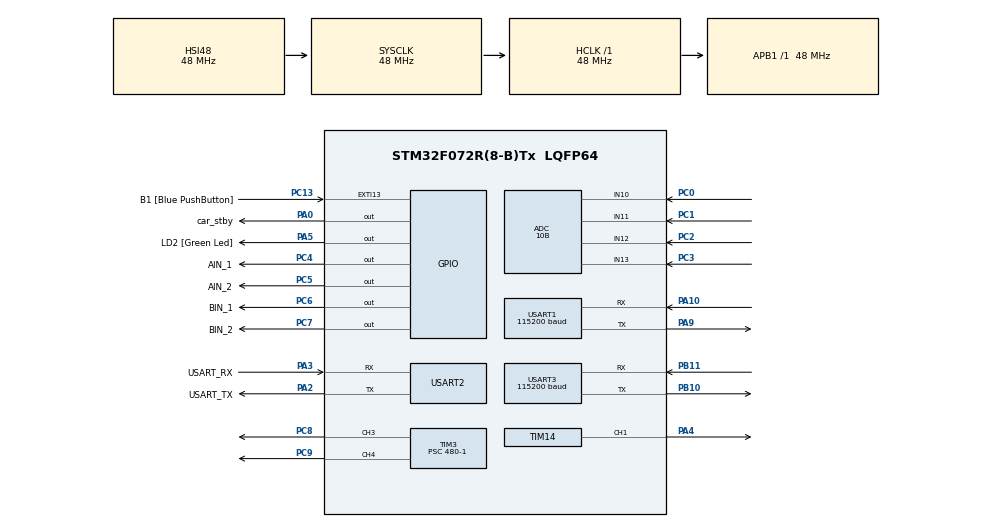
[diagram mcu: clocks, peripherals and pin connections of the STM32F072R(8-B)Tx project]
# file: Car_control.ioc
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ADC.Resolution=ADC_RESOLUTION_10B
ADC.SamplingTime=ADC_SAMPLETIME_28CYCLES_5
Mcu.Family=STM32F0
Mcu.Name=STM32F072R(8-B)Tx
Mcu.Package=LQFP64
NVIC.TIM6_DAC_IRQn=true\:1\:0\:true\:false\:true\:true\:false\:true
NVIC.TIM7_IRQn=true\:2\:0\:true\:false\:true\:true\:false\:true
NVIC.USART1_IRQn=true\:3\:0\:true\:false\:true\:true\:false\:true
NVIC.USART3_4_IRQn=true\:3\:0\:true\:false\:true\:true\:false\:true
PA0.GPIO_Label=car_stby
PA0.PinState=GPIO_PIN_SET
PA0.Signal=GPIO_Output
PA10.Mode=Asynchronous
PA10.Signal=USART1_RX
PA13.GPIO_Label=TMS
PA13.Mode=Serial_Wire
PA13.Signal=SYS_SWDIO
PA14.GPIO_Label=TCK
PA14.Mode=Serial_Wire
PA14.Signal=SYS_SWCLK
PA2.GPIO_Label=USART_TX
PA2.GPIO_Mode=GPIO_MODE_AF_PP
PA2.GPIO_PuPd=GPIO_NOPULL
PA2.GPIO_Speed=GPIO_SPEED_FREQ_LOW
PA2.Mode=Asynchronous
PA2.Signal=USART2_TX
PA3.GPIO_Label=USART_RX
PA3.GPIO_Mode=GPIO_MODE_AF_PP
PA3.GPIO_PuPd=GPIO_NOPULL
PA3.GPIO_Speed=GPIO_SPEED_FREQ_LOW
PA3.Mode=Asynchronous
PA3.Signal=USART2_RX
PA4.Signal=S_TIM14_CH1
PA5.GPIO_Label=LD2 [Green Led]
PA5.GPIO_Mode=GPIO_MODE_OUTPUT_PP
PA5.GPIO_PuPd=GPIO_NOPULL
PA5.GPIO_Speed=GPIO_SPEED_FREQ_LOW
PA5.Signal=GPIO_Output
PA9.Mode=Asynchronous
PA9.Signal=USART1_TX
PB10.Mode=Asynchronous
PB10.Signal=USART3_TX
PB11.Mode=Asynchronous
PB11.Signal=USART3_RX
PC0.Mode=IN10
PC0.Signal=ADC_IN10
PC1.Mode=IN11
PC1.Signal=ADC_IN11
PC13.GPIO_Label=B1 [Blue PushButton]
PC13.GPIO_ModeDefaultEXTI=GPIO_MODE_IT_FALLING
PC13.Signal=GPXTI13
PC14-OSC32_IN.Mode=LSE-External-Oscillator
PC14-OSC32_IN.Signal=RCC_OSC32_IN
PC15-OSC32_OUT.Mode=LSE-External-Oscillator
PC15-OSC32_OUT.Signal=RCC_OSC32_OUT
PC2.Mode=IN12
PC2.Signal=ADC_IN12
PC3.Mode=IN13
PC3.Signal=ADC_IN13
PC4.GPIO_Label=AIN_1
PC4.Signal=GPIO_Output
PC5.GPIO_Label=AIN_2
PC5.Signal=GPIO_Output
PC6.GPIO_Label=BIN_1
PC6.Signal=GPIO_Output
PC7.GPIO_Label=BIN_2
PC7.Signal=GPIO_Output
PC8.Signal=S_TIM3_CH3
PC9.Signal=S_TIM3_CH4
PF0-OSC_IN.Mode=HSE-External-Clock-Source
PF0-OSC_IN.Signal=RCC_OSC_IN
PF1-OSC_OUT.Signal=RCC_OSC_OUT
ProjectManager.HeapSize=0x200
ProjectManager.StackSize=0x400
ProjectManager.TargetToolchain=MDK-ARM V5.32
RCC.AHBFreq_Value=48000000
RCC.APB1Freq_Value=48000000
RCC.APB1TimFreq_Value=48000000
RCC.FLatency-AdvancedSettings=FLASH_LATENCY_1
RCC.HCLKFreq_Value=48000000
RCC.PLLDivider=RCC_PREDIV_DIV2
RCC.PLLMUL=RCC_PLL_MUL12
RCC.PREFETCH_ENABLE-AdvancedSettings=1
RCC.SYSCLKFreq_VALUE=48000000
RCC.SYSCLKSource=RCC_SYSCLKSOURCE_HSI48
SH.S_TIM14_CH1.0=TIM14_CH1,PWM Generation1 CH1
SH.S_TIM3_CH3.0=TIM3_CH3,PWM Generation3 CH3
SH.S_TIM3_CH4.0=TIM3_CH4,PWM Generation4 CH4
TIM14.AutoReloadPreload=TIM_AUTORELOAD_PRELOAD_ENABLE
TIM14.Channel=TIM_CHANNEL_1
TIM14.Period=100-1
TIM14.Prescaler=480-1
TIM3.AutoReloadPreload=TIM_AUTORELOAD_PRELOAD_ENABLE
TIM3.Channel-PWM\ Generation3\ CH3=TIM_CHANNEL_3
TIM3.Channel-PWM\ Generation4\ CH4=TIM_CHANNEL_4
TIM3.Period=100-1
TIM3.Prescaler=480-1
TIM6.AutoReloadPreload=TIM_AUTORELOAD_PRELOAD_ENABLE
TIM6.Period=1000-1
TIM6.Prescaler=48-1
TIM7.AutoReloadPreload=TIM_AUTORELOAD_PRELOAD_ENABLE
TIM7.Period=1000-1
TIM7.Prescaler=4800-1
USART1.BaudRate=115200
USART1.DMADisableonRxErrorParam=ADVFEATURE_DMA_DISABLEONRXERROR
USART1.OverrunDisableParam=ADVFEATURE_OVERRUN_DISABLE
USART1.VirtualMode-Asynchronous=VM_ASYNC
USART2.VirtualMode=VM_ASYNC
USART2.VirtualMode-Asynchronous=VM_ASYNC
USART3.BaudRate=115200
USART3.DMADisableonRxErrorParam=ADVFEATURE_DMA_DISABLEONRXERROR
USART3.OverrunDisableParam=ADVFEATURE_OVERRUN_DISABLE
USART3.VirtualMode-Asynchronous=VM_ASYNC
VP_TIM14_VS_ClockSourceINT.Mode=Enable_Timer
VP_TIM6_VS_ClockSourceINT.Mode=Enable_Timer
VP_TIM7_VS_ClockSourceINT.Mode=Enable_Timer
board=NUCLEO-F072RB

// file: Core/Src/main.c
/* USER CODE BEGIN Header */
/**
  ******************************************************************************
  * @file           : main.c
  * @brief          : Main program body
  ******************************************************************************
  * @attention
  *
  * Copyright (c) 2026 STMicroelectronics.
  * All rights reserved.
  *
  * This software is licensed under terms that can be found in the LICENSE file
  * in the root directory of this software component.
  * If no LICENSE file comes with this software, it is provided AS-IS.
  *
  ******************************************************************************
  */
/* USER CODE END Header */
#include "main.h"

/* USER CODE BEGIN Includes */
#include "pwm_control.h"
#include "car_direction.h"
#include "melody_control.h"
#include <stdio.h>
/* USER CODE END Includes */

ADC_HandleTypeDef hadc;

TIM_HandleTypeDef htim3;
TIM_HandleTypeDef htim6;
TIM_HandleTypeDef htim7;
TIM_HandleTypeDef htim14;

UART_HandleTypeDef huart1;
UART_HandleTypeDef huart2;
UART_HandleTypeDef huart3;

void SystemClock_Config(void);
static void MX_GPIO_Init(void);
static void MX_USART2_UART_Init(void);
static void MX_TIM3_Init(void);
static void MX_USART1_UART_Init(void);
static void MX_TIM6_Init(void);
static void MX_TIM7_Init(void);
static void MX_TIM14_Init(void);
static void MX_ADC_Init(void);
static void MX_USART3_UART_Init(void);

int main(void)
{

  /* MCU Configuration--------------------------------------------------------*/

  /* Reset of all peripherals, Initializes the Flash interface and the Systick. */
  HAL_Init();

  /* Configure the system clock */
  SystemClock_Config();

  /* Initialize all configured peripherals */
  MX_GPIO_Init();
  MX_USART2_UART_Init();
  MX_TIM3_Init();
  MX_USART1_UART_Init();
  MX_TIM6_Init();
  MX_TIM7_Init();
  MX_TIM14_Init();
  MX_ADC_Init();
  MX_USART3_UART_Init();
  /* USER CODE BEGIN 2 */
	printf("Car control\n\r");
	enablePWM_ch3();
	enablePWM_ch4();
	enable_car();
	car_direction(Car_stop);
	song_number=Song_off;

//	car_direction(Car_forward);
//	HAL_Delay(5000);
//	car_direction(Car_right);
//	HAL_Delay(5000);
//	car_direction(Car_left);
//	HAL_Delay(5000);
//	car_direction(Car_backward);
//	HAL_Delay(5000);
//	car_direction(Car_stop);
  /* USER CODE END 2 */

  /* Infinite loop */
  /* USER CODE BEGIN WHILE */
  while (1)
  {
		switch(song_number){
			case Song_1:
				playMelody(Song_1);
				break;
			case Song_2:
				playMelody(Song_2);
				break;
			case Song_3:
				playMelody(Song_3);
				break;
			case Song_4:
				playMelody(Song_4);
				break;
			case Song_5:
				playMelody(Song_5);
				break;
			case Song_6:
				playMelody(Song_6);
				break;
			case Song_off:
			default:
				playMelody(Song_off);
				break;
		}
    /* USER CODE END WHILE */

  }
}

void SystemClock_Config(void)
{
  RCC_OscInitTypeDef RCC_OscInitStruct = {0};
  RCC_ClkInitTypeDef RCC_ClkInitStruct = {0};
  RCC_PeriphCLKInitTypeDef PeriphClkInit = {0};

  /** Initializes the RCC Oscillators according to the specified parameters
  * in the RCC_OscInitTypeDef structure.
  */
  RCC_OscInitStruct.OscillatorType = RCC_OSCILLATORTYPE_HSI14|RCC_OSCILLATORTYPE_HSI48;
  RCC_OscInitStruct.HSI48State = RCC_HSI48_ON;
  RCC_OscInitStruct.HSI14State = RCC_HSI14_ON;
  RCC_OscInitStruct.HSI14CalibrationValue = 16;
  RCC_OscInitStruct.PLL.PLLState = RCC_PLL_NONE;
  if (HAL_RCC_OscConfig(&RCC_OscInitStruct) != HAL_OK)
  {
    Error_Handler();
  }

  /** Initializes the CPU, AHB and APB buses clocks
  */
  RCC_ClkInitStruct.ClockType = RCC_CLOCKTYPE_HCLK|RCC_CLOCKTYPE_SYSCLK
                              |RCC_CLOCKTYPE_PCLK1;
  RCC_ClkInitStruct.SYSCLKSource = RCC_SYSCLKSOURCE_HSI48;
  RCC_ClkInitStruct.AHBCLKDivider = RCC_SYSCLK_DIV1;
  RCC_ClkInitStruct.APB1CLKDivider = RCC_HCLK_DIV1;

  if (HAL_RCC_ClockConfig(&RCC_ClkInitStruct, FLASH_LATENCY_1) != HAL_OK)
  {
    Error_Handler();
  }
  PeriphClkInit.PeriphClockSelection = RCC_PERIPHCLK_USART1|RCC_PERIPHCLK_USART2;
  PeriphClkInit.Usart1ClockSelection = RCC_USART1CLKSOURCE_PCLK1;
  PeriphClkInit.Usart2ClockSelection = RCC_USART2CLKSOURCE_PCLK1;
  if (HAL_RCCEx_PeriphCLKConfig(&PeriphClkInit) != HAL_OK)
  {
    Error_Handler();
  }
}

static void MX_ADC_Init(void)
{

  ADC_ChannelConfTypeDef sConfig = {0};

  /** Configure the global features of the ADC (Clock, Resolution, Data Alignment and number of conversion)
  */
  hadc.Instance = ADC1;
  hadc.Init.ClockPrescaler = ADC_CLOCK_ASYNC_DIV1;
  hadc.Init.Resolution = ADC_RESOLUTION_10B;
  hadc.Init.DataAlign = ADC_DATAALIGN_RIGHT;
  hadc.Init.ScanConvMode = ADC_SCAN_DIRECTION_FORWARD;
  hadc.Init.EOCSelection = ADC_EOC_SINGLE_CONV;
  hadc.Init.LowPowerAutoWait = DISABLE;
  hadc.Init.LowPowerAutoPowerOff = DISABLE;
  hadc.Init.ContinuousConvMode = DISABLE;
  hadc.Init.DiscontinuousConvMode = DISABLE;
  hadc.Init.ExternalTrigConv = ADC_SOFTWARE_START;
  hadc.Init.ExternalTrigConvEdge = ADC_EXTERNALTRIGCONVEDGE_NONE;
  hadc.Init.DMAContinuousRequests = DISABLE;
  hadc.Init.Overrun = ADC_OVR_DATA_PRESERVED;
  if (HAL_ADC_Init(&hadc) != HAL_OK)
  {
    Error_Handler();
  }

  /** Configure for the selected ADC regular channel to be converted.
  */
  sConfig.Channel = ADC_CHANNEL_10;
  sConfig.Rank = ADC_RANK_CHANNEL_NUMBER;
  sConfig.SamplingTime = ADC_SAMPLETIME_28CYCLES_5;
  if (HAL_ADC_ConfigChannel(&hadc, &sConfig) != HAL_OK)
  {
    Error_Handler();
  }

  /** Configure for the selected ADC regular channel to be converted.
  */
  sConfig.Channel = ADC_CHANNEL_11;
  if (HAL_ADC_ConfigChannel(&hadc, &sConfig) != HAL_OK)
  {
    Error_Handler();
  }

  /** Configure for the selected ADC regular channel to be converted.
  */
  sConfig.Channel = ADC_CHANNEL_12;
  if (HAL_ADC_ConfigChannel(&hadc, &sConfig) != HAL_OK)
  {
    Error_Handler();
  }

  /** Configure for the selected ADC regular channel to be converted.
  */
  sConfig.Channel = ADC_CHANNEL_13;
  if (HAL_ADC_ConfigChannel(&hadc, &sConfig) != HAL_OK)
  {
    Error_Handler();
  }
  /* USER CODE BEGIN ADC_Init 2 */
	RCC->CR2 &= ~(0x1ul<<2);
	ADC1->CR |= 0x1ul;
	while( (ADC1->ISR & 0x1ul) == 0);
  /* USER CODE END ADC_Init 2 */

}

static void MX_TIM3_Init(void)
{

  TIM_MasterConfigTypeDef sMasterConfig = {0};
  TIM_OC_InitTypeDef sConfigOC = {0};

  htim3.Instance = TIM3;
  htim3.Init.Prescaler = 480-1;
  htim3.Init.CounterMode = TIM_COUNTERMODE_UP;
  htim3.Init.Period = 100-1;
  htim3.Init.ClockDivision = TIM_CLOCKDIVISION_DIV1;
  htim3.Init.AutoReloadPreload = TIM_AUTORELOAD_PRELOAD_ENABLE;
  if (HAL_TIM_PWM_Init(&htim3) != HAL_OK)
  {
    Error_Handler();
  }
  sMasterConfig.MasterOutputTrigger = TIM_TRGO_RESET;
  sMasterConfig.MasterSlaveMode = TIM_MASTERSLAVEMODE_DISABLE;
  if (HAL_TIMEx_MasterConfigSynchronization(&htim3, &sMasterConfig) != HAL_OK)
  {
    Error_Handler();
  }
  sConfigOC.OCMode = TIM_OCMODE_PWM1;
  sConfigOC.Pulse = 0;
  sConfigOC.OCPolarity = TIM_OCPOLARITY_HIGH;
  sConfigOC.OCFastMode = TIM_OCFAST_DISABLE;
  if (HAL_TIM_PWM_ConfigChannel(&htim3, &sConfigOC, TIM_CHANNEL_3) != HAL_OK)
  {
    Error_Handler();
  }
  if (HAL_TIM_PWM_ConfigChannel(&htim3, &sConfigOC, TIM_CHANNEL_4) != HAL_OK)
  {
    Error_Handler();
  }
  HAL_TIM_MspPostInit(&htim3);

}

static void MX_TIM6_Init(void)
{

  TIM_MasterConfigTypeDef sMasterConfig = {0};

  htim6.Instance = TIM6;
  htim6.Init.Prescaler = 48-1;
  htim6.Init.CounterMode = TIM_COUNTERMODE_UP;
  htim6.Init.Period = 1000-1;
  htim6.Init.AutoReloadPreload = TIM_AUTORELOAD_PRELOAD_ENABLE;
  if (HAL_TIM_Base_Init(&htim6) != HAL_OK)
  {
    Error_Handler();
  }
  sMasterConfig.MasterOutputTrigger = TIM_TRGO_RESET;
  sMasterConfig.MasterSlaveMode = TIM_MASTERSLAVEMODE_DISABLE;
  if (HAL_TIMEx_MasterConfigSynchronization(&htim6, &sMasterConfig) != HAL_OK)
  {
    Error_Handler();
  }
  /* USER CODE BEGIN TIM6_Init 2 */
	TIM6->CR1 |= 0x1ul;
	TIM6->DIER |= 0x1ul;
  /* USER CODE END TIM6_Init 2 */

}

static void MX_TIM7_Init(void)
{

  TIM_MasterConfigTypeDef sMasterConfig = {0};

  htim7.Instance = TIM7;
  htim7.Init.Prescaler = 4800-1;
  htim7.Init.CounterMode = TIM_COUNTERMODE_UP;
  htim7.Init.Period = 1000-1;
  htim7.Init.AutoReloadPreload = TIM_AUTORELOAD_PRELOAD_ENABLE;
  if (HAL_TIM_Base_Init(&htim7) != HAL_OK)
  {
    Error_Handler();
  }
  sMasterConfig.MasterOutputTrigger = TIM_TRGO_RESET;
  sMasterConfig.MasterSlaveMode = TIM_MASTERSLAVEMODE_DISABLE;
  if (HAL_TIMEx_MasterConfigSynchronization(&htim7, &sMasterConfig) != HAL_OK)
  {
    Error_Handler();
  }
  /* USER CODE BEGIN TIM7_Init 2 */
	TIM7->CR1 |= 0x1ul;
	TIM7->DIER |= 0x1ul;
  /* USER CODE END TIM7_Init 2 */

}

static void MX_TIM14_Init(void)
{

  TIM_OC_InitTypeDef sConfigOC = {0};

  htim14.Instance = TIM14;
  htim14.Init.Prescaler = 480-1;
  htim14.Init.CounterMode = TIM_COUNTERMODE_UP;
  htim14.Init.Period = 100-1;
  htim14.Init.ClockDivision = TIM_CLOCKDIVISION_DIV1;
  htim14.Init.AutoReloadPreload = TIM_AUTORELOAD_PRELOAD_ENABLE;
  if (HAL_TIM_Base_Init(&htim14) != HAL_OK)
  {
    Error_Handler();
  }
  if (HAL_TIM_PWM_Init(&htim14) != HAL_OK)
  {
    Error_Handler();
  }
  sConfigOC.OCMode = TIM_OCMODE_PWM1;
  sConfigOC.Pulse = 0;
  sConfigOC.OCPolarity = TIM_OCPOLARITY_HIGH;
  sConfigOC.OCFastMode = TIM_OCFAST_DISABLE;
  if (HAL_TIM_PWM_ConfigChannel(&htim14, &sConfigOC, TIM_CHANNEL_1) != HAL_OK)
  {
    Error_Handler();
  }
  HAL_TIM_MspPostInit(&htim14);

}

static void MX_USART1_UART_Init(void)
{

  huart1.Instance = USART1;
  huart1.Init.BaudRate = 115200;
  huart1.Init.WordLength = UART_WORDLENGTH_8B;
  huart1.Init.StopBits = UART_STOPBITS_1;
  huart1.Init.Parity = UART_PARITY_NONE;
  huart1.Init.Mode = UART_MODE_TX_RX;
  huart1.Init.HwFlowCtl = UART_HWCONTROL_NONE;
  huart1.Init.OverSampling = UART_OVERSAMPLING_16;
  huart1.Init.OneBitSampling = UART_ONE_BIT_SAMPLE_DISABLE;
  huart1.AdvancedInit.AdvFeatureInit = UART_ADVFEATURE_RXOVERRUNDISABLE_INIT|UART_ADVFEATURE_DMADISABLEONERROR_INIT;
  huart1.AdvancedInit.OverrunDisable = UART_ADVFEATURE_OVERRUN_DISABLE;
  huart1.AdvancedInit.DMADisableonRxError = UART_ADVFEATURE_DMA_DISABLEONRXERROR;
  if (HAL_UART_Init(&huart1) != HAL_OK)
  {
    Error_Handler();
  }
  /* USER CODE BEGIN USART1_Init 2 */
	USART1->CR1 |= 0x1ul<<5;
	USART1->ICR |= 0x1ul<<6;
  /* USER CODE END USART1_Init 2 */

}

static void MX_USART2_UART_Init(void)
{

  huart2.Instance = USART2;
  huart2.Init.BaudRate = 38400;
  huart2.Init.WordLength = UART_WORDLENGTH_8B;
  huart2.Init.StopBits = UART_STOPBITS_1;
  huart2.Init.Parity = UART_PARITY_NONE;
  huart2.Init.Mode = UART_MODE_TX_RX;
  huart2.Init.HwFlowCtl = UART_HWCONTROL_NONE;
  huart2.Init.OverSampling = UART_OVERSAMPLING_16;
  huart2.Init.OneBitSampling = UART_ONE_BIT_SAMPLE_DISABLE;
  huart2.AdvancedInit.AdvFeatureInit = UART_ADVFEATURE_NO_INIT;
  if (HAL_UART_Init(&huart2) != HAL_OK)
  {
    Error_Handler();
  }

}

static void MX_USART3_UART_Init(void)
{

  huart3.Instance = USART3;
  huart3.Init.BaudRate = 115200;
  huart3.Init.WordLength = UART_WORDLENGTH_8B;
  huart3.Init.StopBits = UART_STOPBITS_1;
  huart3.Init.Parity = UART_PARITY_NONE;
  huart3.Init.Mode = UART_MODE_TX_RX;
  huart3.Init.HwFlowCtl = UART_HWCONTROL_NONE;
  huart3.Init.OverSampling = UART_OVERSAMPLING_16;
  huart3.Init.OneBitSampling = UART_ONE_BIT_SAMPLE_DISABLE;
  huart3.AdvancedInit.AdvFeatureInit = UART_ADVFEATURE_RXOVERRUNDISABLE_INIT|UART_ADVFEATURE_DMADISABLEONERROR_INIT;
  huart3.AdvancedInit.OverrunDisable = UART_ADVFEATURE_OVERRUN_DISABLE;
  huart3.AdvancedInit.DMADisableonRxError = UART_ADVFEATURE_DMA_DISABLEONRXERROR;
  if (HAL_UART_Init(&huart3) != HAL_OK)
  {
    Error_Handler();
  }
  /* USER CODE BEGIN USART3_Init 2 */
	USART3->CR1 |= 0x1ul<<5;
	USART3->ICR |= 0x1ul<<6;
  /* USER CODE END USART3_Init 2 */

}

static void MX_GPIO_Init(void)
{
  GPIO_InitTypeDef GPIO_InitStruct = {0};

  /* GPIO Ports Clock Enable */
  __HAL_RCC_GPIOC_CLK_ENABLE();
  __HAL_RCC_GPIOF_CLK_ENABLE();
  __HAL_RCC_GPIOA_CLK_ENABLE();
  __HAL_RCC_GPIOB_CLK_ENABLE();

  /*Configure GPIO pin Output Level */
  HAL_GPIO_WritePin(car_stby_GPIO_Port, car_stby_Pin, GPIO_PIN_SET);

  /*Configure GPIO pin Output Level */
  HAL_GPIO_WritePin(LD2_GPIO_Port, LD2_Pin, GPIO_PIN_RESET);

  /*Configure GPIO pin Output Level */
  HAL_GPIO_WritePin(GPIOC, AIN_1_Pin|AIN_2_Pin|BIN_1_Pin|BIN_2_Pin, GPIO_PIN_RESET);

  /*Configure GPIO pin : B1_Pin */
  GPIO_InitStruct.Pin = B1_Pin;
  GPIO_InitStruct.Mode = GPIO_MODE_IT_FALLING;
  GPIO_InitStruct.Pull = GPIO_NOPULL;
  HAL_GPIO_Init(B1_GPIO_Port, &GPIO_InitStruct);

  /*Configure GPIO pins : car_stby_Pin LD2_Pin */
  GPIO_InitStruct.Pin = car_stby_Pin|LD2_Pin;
  GPIO_InitStruct.Mode = GPIO_MODE_OUTPUT_PP;
  GPIO_InitStruct.Pull = GPIO_NOPULL;
  GPIO_InitStruct.Speed = GPIO_SPEED_FREQ_LOW;
  HAL_GPIO_Init(GPIOA, &GPIO_InitStruct);

  /*Configure GPIO pins : AIN_1_Pin AIN_2_Pin BIN_1_Pin BIN_2_Pin */
  GPIO_InitStruct.Pin = AIN_1_Pin|AIN_2_Pin|BIN_1_Pin|BIN_2_Pin;
  GPIO_InitStruct.Mode = GPIO_MODE_OUTPUT_PP;
  GPIO_InitStruct.Pull = GPIO_NOPULL;
  GPIO_InitStruct.Speed = GPIO_SPEED_FREQ_LOW;
  HAL_GPIO_Init(GPIOC, &GPIO_InitStruct);

}

void Error_Handler(void)
{
  __disable_irq();
  while (1)
  {
  }
}
